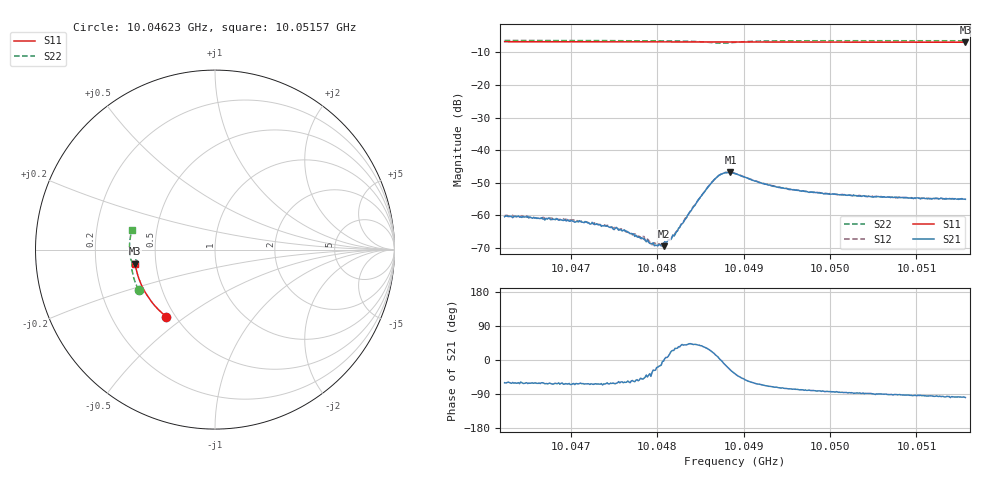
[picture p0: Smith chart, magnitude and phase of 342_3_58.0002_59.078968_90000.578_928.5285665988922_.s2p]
#  HZ  S  RI  R  50.00
! Rohde & Schwarz Vector Network Analyzer
! Rohde-Schwarz,ZNB20-2Port,1311601062101988,3.16
! Created: UTC 3/21/2024, 1:05:40 AM
! freq[Hz]  re:S11  im:S11  re:S21  im:S21  re:S12  im:S12  re:S22  im:S22
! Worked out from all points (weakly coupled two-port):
!   401 points, 10.04623 GHz to 10.05157 GHz, reference 50 ohm
!   highest |S21| = -46.78 dB at 10.04885 GHz (marker M1); lowest = -69.4 dB at 10.04807 GHz (marker M2)
!   lowest |S11| = -6.9 dB at 10.05157 GHz (marker M3), VSWR 2.65, Z = 19 - j3.76 ohm
!   |S11| at or under -10 dB: nowhere
!   |S22| runs from -7.2 to -6.3 dB; largest |S21 - S12| = 0.00032
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1.0046234e10  -0.2711 -0.3734  0.000479 -0.00083  0.000556 -0.000828  -0.4261 -0.224
1.0046474e10  -0.2835 -0.3635  0.000465 -0.000829  0.000513 -0.000815  -0.4328 -0.2094
1.0047127e10  -0.3153 -0.3342  0.000362 -0.000701  0.000425 -0.000708  -0.4491 -0.1682
1.0047421e10  -0.3286 -0.3203  0.00034 -0.000598  0.000361 -0.000609  -0.4551 -0.1489
1.0047634e10  -0.338 -0.3098  0.000294 -0.00049  0.000313 -0.000472  -0.4588 -0.1344
1.0047821e10  -0.3459 -0.3001  0.000295 -0.000346  0.000315 -0.000306  -0.4616 -0.1209
1.0047941e10  -0.3508 -0.294  0.000312 -0.000202  0.00031 -0.000173  -0.4629 -0.112
1.0048021e10  -0.3541 -0.2899  0.000343 -0.000101  0.000363 -6.66e-05  -0.4639 -0.106
1.0048074e10  -0.3562 -0.2871  0.000338 -1.83e-05  0.000379 1.63e-06  -0.4641 -0.1017
1.0048154e10  -0.3593 -0.2829  0.000397 0.000147  0.000398 0.000183  -0.4644 -0.0952
1.0048194e10  -0.3609 -0.2807  0.000436 0.000208  0.000431 0.000232  -0.4643 -0.092
1.00485e10  -0.3725 -0.2641  0.00152 0.00117  0.00141 0.00126  -0.456 -0.0645
1.0048647e10  -0.3775 -0.2561  0.00318 0.00112  0.00315 0.0013  -0.4409 -0.0578
1.004874e10  -0.3807 -0.251  0.00429 -8.36e-05  0.00431 0.00017  -0.4328 -0.0652
1.0048847e10  -0.3841 -0.2452  0.00411 -0.00203  0.00422 -0.00177  -0.4381 -0.0765
1.00489e10  -0.3861 -0.2422  0.0035 -0.0026  0.00372 -0.00241  -0.4446 -0.078
1.0049153e10  -0.3946 -0.2277  0.00149 -0.00296  0.00168 -0.00289  -0.4658 -0.0619
1.0049353e10  -0.4007 -0.2162  0.000877 -0.00265  0.00106 -0.00262  -0.4719 -0.0451
1.0049793e10  -0.413 -0.1898  0.000378 -0.00225  0.000526 -0.00221  -0.4764 -0.0116
1.0050286e10  -0.4248 -0.1599  8.41e-05 -0.002  0.000239 -0.00202  -0.4763 0.0231
1.0050686e10  -0.4327 -0.1349  -4.76e-05 -0.0019  6.96e-05 -0.00193  -0.4741 0.0502
1.0051566e10  -0.445 -0.0787  -0.000275 -0.00175  -0.000143 -0.00178  -0.4641 0.108
